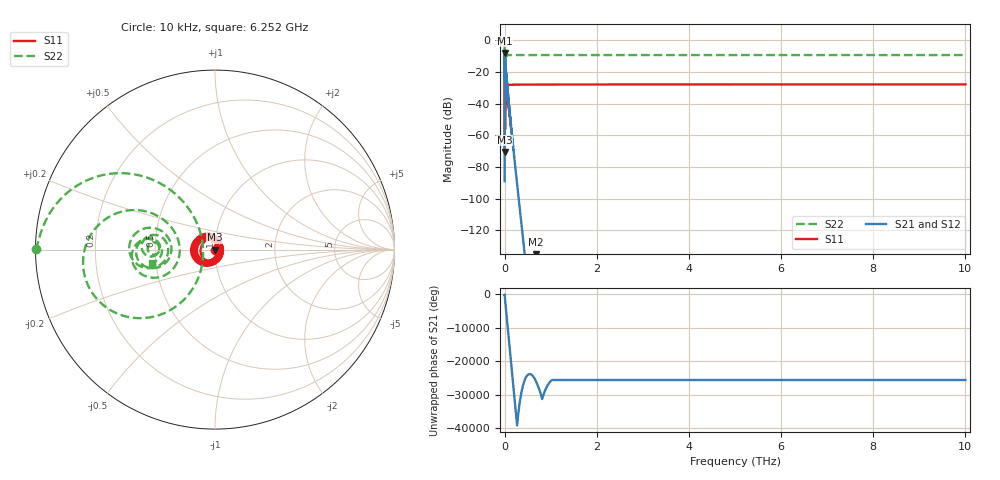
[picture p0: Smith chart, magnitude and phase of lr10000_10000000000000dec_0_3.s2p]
! NPort=2 DATA=4501 NOISE=0 GROUPDELAY=0 COMPLEX_DATAFORMAT=RI
! NumOfBlock=1 NumOfParam=0
! .MODEL Smodel S TSTONEFILE=./link_rx/link_rx_l3/lr10000_10000000000000dec_0_3.s2p TYPE=S
!  -- The above .MODEL line can be used for the S element in the netlist.
# Hz S RI R  50
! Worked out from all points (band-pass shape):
!   4501 points, 10 kHz to 10 THz, reference 50 ohm
!   highest |S21| = -7.96 dB at 3.784 GHz (marker M1); lowest = -198.9 dB at 676.1 GHz (marker M2)
!   |S21| within 3 dB of the highest: 1.836 GHz to 2.291 GHz (455.2 MHz wide, 22.1 % of centre); 2.425 GHz to 5.108 GHz (2.683 GHz wide, 71.2 % of centre)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
!   lowest |S11| = -70.4 dB at 10 kHz (marker M3), VSWR 1.00, Z = 50 + j0.0206 ohm
!   |S11| at or under -10 dB: start of sweep to end of sweep
!   |S22| runs from -23.6 to 0.0 dB; largest |S21 - S12| = 0
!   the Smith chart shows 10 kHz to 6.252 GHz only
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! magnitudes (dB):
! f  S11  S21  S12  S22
! 10 kHz  -70.4  -88.9  -88.9  0.0
! 45.5 kHz  -64.0  -79.8  -79.8  0.0
! 316.2 kHz  -55.7  -66.2  -66.2  0.0
! 10 MHz  -40.9  -38.3  -38.3  -0.2
! 92.9 MHz  -30.6  -21.1  -21.1  -2.1
! 316.2 MHz  -24.2  -16.6  -16.6  -10.3
! 532.1 MHz  -21.9  -16.7  -16.7  -23.6
! 950.6 MHz  -23.2  -15.7  -15.7  -2.7
! 1.549 GHz  -20.1  -13.0  -13.0  -13.9
! 3.784 GHz  -18.5  -8.0  -8.0  -6.4
! 5.916 GHz  -21.6  -12.6  -12.6  -10.4
! 7.907 GHz  -25.1  -22.7  -22.7  -12.0
! 10 GHz  -28.6  -14.6  -14.6  -9.9
! 12.42 GHz  -24.1  -12.3  -12.3  -8.2
! 15.92 GHz  -29.2  -26.3  -26.3  -8.4
! 19.86 GHz  -25.9  -15.0  -15.0  -8.6
! 63.1 GHz  -28.1  -36.4  -36.4  -9.3
! 125.3 GHz  -28.0  -51.4  -51.4  -9.2
! 233.3 GHz  -28.0  -80.2  -80.2  -9.2
! 316.2 GHz  -27.9  -103.1  -103.1  -9.2
! 676.1 GHz  -27.9  -198.9  -198.9  -9.2
! 10 THz  -27.8  -  -  -9.2
